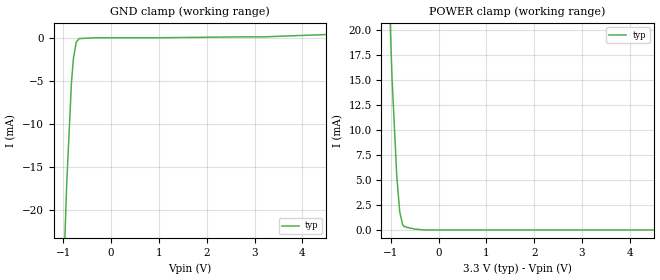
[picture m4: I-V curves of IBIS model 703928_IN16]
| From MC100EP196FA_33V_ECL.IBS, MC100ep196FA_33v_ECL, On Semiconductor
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| (C) COPYRIGHT 1993-2001
| MENTOR GRAPHICS CORPORATION
| ICX STANDARD LIBRARY, ICX PROJECT MODELING,
| ICX CUSTOM MODELING, ICX VENDOR MODEL
| ALL RIGHTS RESERVED.
| THE FOLLOWING ARE TRADEMARKS OR SERVICE MARKS OF
| MENTOR GRAPHICS CORPORATION:ICX (R), ICX STANDARD
| LIBRARY(R), ICX PROJECT MODELING(R), ICX CUSTOM
| MODELING(R), qualityIBIS(TM), MODELVIEWER(TM),
| AND MODELEDITOR(TM)
| ALL COPIES OF SOFTWARE, INCLUDING BUT NOT LIMITED TO
| ANY MODIFICATIONS, ENHANCEMENTS OR DERIVATIVE WORKS,
| MUST CONTAIN ALL MENTOR GRAPHICS CORPORATION'S
| NOTICES AND LEGENDS, INCLUDING THOSE EMBEDDED IN
| SOFTWARE AND THOSE AFFIXED TO SOFTWARE MEDIUM
| AND CONTAINER, AS RECEIVED FROM MENTOR GRAPHICS
| CORPORATION.
| Model Application Version 1.89 2/18/99.
[Model] 703928_IN16
Model_type Input_ECL
Vinl = 1.755V
Vinh = 2.155V
C_comp 4.000pF NA NA
| variable typ   min   max
[Voltage Range] 3.300V NA NA
[GND Clamp Reference] 0.000V NA NA
[POWER Clamp Reference] 3.300V NA NA
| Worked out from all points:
|   GND clamp passes 1 mA (typ) near -0.75 V on its own axis
|   POWER clamp passes 1 mA (typ) near -0.78 V on its own axis
[GND Clamp]
-3.3V     -515.7mA   NA         NA
-1.054V   -37.4mA    NA         NA
-932mV    -17.2mA    NA         NA
-831mV    -5.2mA     NA         NA
-790mV    -2.4mA     NA         NA
-730mV    -500uA     NA         NA
-669mV    -100uA     NA         NA
-334.5mV  0A         NA         NA
1.034V    0A         NA         NA
2.696V    100uA      NA         NA
3.183V    100uA      NA         NA
6.6V      802.5uA    NA         NA
[POWER Clamp]
-3.3V     440.6mA    NA         NA
-1.24V    53.22mA    NA         NA
-977mV    15.28mA    NA         NA
-876mV    5.296mA    NA         NA
-815mV    1.808mA    NA         NA
-754mV    520.9uA    NA         NA
-723.5mV  333.4uA    NA         NA
-510.5mV  79.24uA    NA         NA
-313.3mV  0A         NA         NA
6.6V      0A         NA         NA
